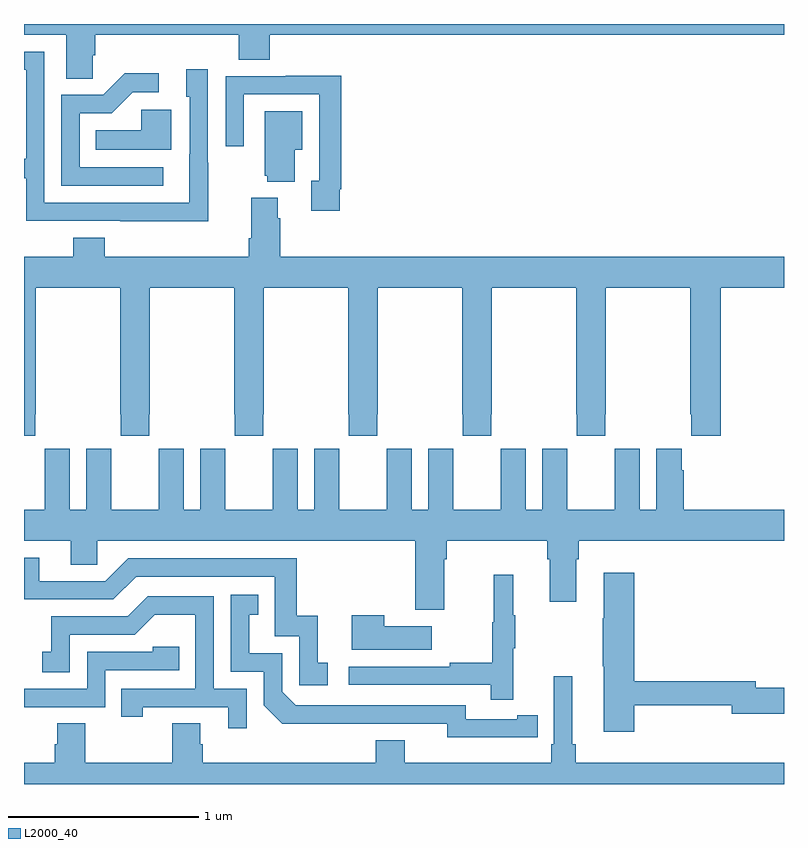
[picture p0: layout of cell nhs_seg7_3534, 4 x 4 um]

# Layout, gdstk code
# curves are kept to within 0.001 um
import gdstk
lib = gdstk.Library(unit=1e-6, precision=1e-09)
def P(c, l, *ps):  # polygons
    for p in ps: c.add(gdstk.Polygon(p, *l))
L2000_40 = (2000, 40)

nhs_seg7_3534 = lib.new_cell('nhs_seg7_3534')
P(nhs_seg7_3534, L2000_40, [(337.362,1005.835),(337.376,1005.835),(337.376,1005.944),(338.129,1005.944),(338.129,1005.811),(338.294,1005.811),(338.294,1005.944),(341,1005.944),(341,1006),(337,1006),(337,1005.944),(337.223,1005.944),(337.223,1005.712),(337.362,1005.712)],
  [(337.971,1005.269),(337.968,1005.269),(337.968,1005.763),(337.853,1005.763),(337.853,1005.618),(337.872,1005.618),(337.872,1005.314),(337.871,1005.314),(337.871,1005.06),(337.107,1005.06),(337.107,1005.855),(337,1005.855),(337,1005.759),(337.011,1005.759),(337.011,1005.29),(337,1005.29),(337,1005.189),(337.011,1005.189),(337.011,1004.964),(337.507,1004.964),(337.507,1004.963),(337.971,1004.963)],
  [(337.732,1005.246),(337.293,1005.246),(337.293,1005.531),(337.462,1005.531),(337.573,1005.642),(337.708,1005.642),(337.708,1005.74),(337.529,1005.74),(337.416,1005.627),(337.197,1005.627),(337.197,1005.15),(337.732,1005.15)],
  [(338.662,1005.13),(338.669,1005.13),(338.669,1005.728),(338.377,1005.728),(338.377,1005.726),(338.061,1005.726),(338.061,1005.357),(338.157,1005.357),(338.157,1005.63),(338.553,1005.63),(338.553,1005.174),(338.513,1005.174),(338.513,1005.018),(338.662,1005.018)],
  [(337.774,1005.55),(337.617,1005.55),(337.617,1005.442),(337.378,1005.442),(337.378,1005.338),(337.774,1005.338)],
  [(338.425,1005.338),(338.464,1005.338),(338.464,1005.541),(338.267,1005.541),(338.267,1005.201),(338.279,1005.201),(338.279,1005.17),(338.425,1005.17)],
  [(337.424,1004.875),(337.259,1004.875),(337.259,1004.776),(337,1004.776),(337,1003.833),(337.059,1003.833),(337.059,1003.945),(337.062,1003.945),(337.062,1004.612),(337.507,1004.612),(337.507,1003.945),(337.509,1003.945),(337.509,1003.833),(337.659,1003.833),(337.659,1003.945),(337.662,1003.945),(337.662,1004.612),(338.107,1004.612),(338.107,1003.945),(338.109,1003.945),(338.109,1003.833),(338.259,1003.833),(338.259,1003.945),(338.262,1003.945),(338.262,1004.612),(338.707,1004.612),(338.707,1003.945),(338.709,1003.945),(338.709,1003.833),(338.859,1003.833),(338.859,1003.945),(338.862,1003.945),(338.862,1004.612),(339.307,1004.612),(339.307,1003.945),(339.309,1003.945),(339.309,1003.833),(339.459,1003.833),(339.459,1003.945),(339.462,1003.945),(339.462,1004.612),(339.907,1004.612),(339.907,1003.945),(339.909,1003.945),(339.909,1003.833),(340.059,1003.833),(340.059,1003.945),(340.062,1003.945),(340.062,1004.612),(340.507,1004.612),(340.507,1003.945),(340.513,1003.945),(340.513,1003.833),(340.667,1003.833),(340.667,1004.612),(341,1004.612),(341,1004.776),(338.348,1004.776),(338.348,1004.978),(338.335,1004.978),(338.335,1005.085),(338.195,1005.085),(338.195,1004.872),(338.183,1004.872),(338.183,1004.776),(337.424,1004.776)],
  [(338.528,1003.765),(338.528,1003.444),(338.44,1003.444),(338.44,1003.765),(338.31,1003.765),(338.31,1003.652),(338.309,1003.652),(338.309,1003.444),(338.059,1003.444),(338.059,1003.652),(338.058,1003.652),(338.058,1003.765),(337.928,1003.765),(337.928,1003.444),(337.84,1003.444),(337.84,1003.765),(337.71,1003.765),(337.71,1003.652),(337.709,1003.652),(337.709,1003.444),(337.459,1003.444),(337.459,1003.652),(337.458,1003.652),(337.458,1003.765),(337.328,1003.765),(337.328,1003.444),(337.24,1003.444),(337.24,1003.765),(337.11,1003.765),(337.11,1003.652),(337.109,1003.652),(337.109,1003.444),(337,1003.444),(337,1003.28),(337.247,1003.28),(337.247,1003.153),(337.386,1003.153),(337.386,1003.28),(339.059,1003.28),(339.059,1002.918),(339.211,1002.918),(339.211,1003.184),(339.224,1003.184),(339.224,1003.28),(339.755,1003.28),(339.755,1003.184),(339.767,1003.184),(339.767,1002.96),(339.907,1002.96),(339.907,1003.184),(339.92,1003.184),(339.92,1003.28),(341,1003.28),(341,1003.444),(340.472,1003.444),(340.472,1003.652),(340.462,1003.652),(340.462,1003.765),(340.328,1003.765),(340.328,1003.444),(340.24,1003.444),(340.24,1003.765),(340.11,1003.765),(340.11,1003.652),(340.109,1003.652),(340.109,1003.444),(339.859,1003.444),(339.859,1003.652),(339.858,1003.652),(339.858,1003.765),(339.728,1003.765),(339.728,1003.444),(339.64,1003.444),(339.64,1003.765),(339.51,1003.765),(339.51,1003.652),(339.509,1003.652),(339.509,1003.444),(339.259,1003.444),(339.259,1003.652),(339.258,1003.652),(339.258,1003.765),(339.128,1003.765),(339.128,1003.444),(339.04,1003.444),(339.04,1003.765),(338.91,1003.765),(338.91,1003.652),(338.909,1003.652),(338.909,1003.444),(338.659,1003.444),(338.659,1003.652),(338.658,1003.652),(338.658,1003.765)],
  [(338.599,1002.639),(338.546,1002.639),(338.546,1002.886),(338.435,1002.886),(338.435,1003.188),(337.548,1003.188),(337.428,1003.068),(337.081,1003.068),(337.081,1003.191),(337,1003.191),(337,1002.972),(337.47,1002.972),(337.59,1003.092),(338.319,1003.092),(338.319,1002.777),(338.448,1002.777),(338.448,1002.519),(338.599,1002.519)],
  [(340.211,1002.414),(340.724,1002.414),(340.724,1002.371),(341,1002.371),(341,1002.506),(340.852,1002.506),(340.852,1002.542),(340.211,1002.542),(340.211,1003.111),(340.052,1003.111),(340.052,1002.872),(340.045,1002.872),(340.045,1002.619),(340.052,1002.619),(340.052,1002.276),(340.211,1002.276)],
  [(339.575,1002.715),(339.586,1002.715),(339.586,1002.889),(339.575,1002.889),(339.575,1003.102),(339.472,1003.102),(339.472,1002.852),(339.465,1002.852),(339.465,1002.638),(339.241,1002.638),(339.241,1002.618),(338.709,1002.618),(338.709,1002.522),(339.457,1002.522),(339.457,1002.444),(339.575,1002.444)],
  [(339.596,1002.246),(339.704,1002.246),(339.704,1002.362),(339.596,1002.362),(339.596,1002.342),(339.324,1002.342),(339.324,1002.414),(338.43,1002.414),(338.358,1002.486),(338.358,1002.687),(338.185,1002.687),(338.185,1002.891),(338.234,1002.891),(338.234,1002.997),(338.088,1002.997),(338.088,1002.591),(338.262,1002.591),(338.262,1002.414),(338.36,1002.317),(339.228,1002.318),(339.228,1002.245)],
  [(338.172,1002.501),(337.998,1002.501),(337.998,1002.987),(337.652,1002.987),(337.547,1002.882),(337.144,1002.882),(337.144,1002.697),(337.095,1002.697),(337.095,1002.588),(337.242,1002.588),(337.242,1002.786),(337.584,1002.786),(337.688,1002.89),(337.902,1002.89),(337.902,1002.501),(337.513,1002.501),(337.513,1002.354),(337.624,1002.354),(337.624,1002.405),(338.075,1002.405),(338.075,1002.294),(338.172,1002.294)],
  [(339.145,1002.829),(338.897,1002.829),(338.897,1002.889),(338.726,1002.889),(338.726,1002.707),(339.145,1002.707)],
  [(337.428,1002.6),(337.817,1002.6),(337.817,1002.723),(337.677,1002.723),(337.677,1002.696),(337.332,1002.696),(337.332,1002.501),(337,1002.501),(337,1002.405),(337.428,1002.405)],
  [(341,1002.112),(339.905,1002.112),(339.905,1002.208),(339.886,1002.208),(339.886,1002.568),(339.789,1002.568),(339.789,1002.208),(339.776,1002.208),(339.776,1002.112),(339.004,1002.112),(339.004,1002.229),(338.852,1002.229),(338.852,1002.112),(337.94,1002.112),(337.94,1002.21),(337.927,1002.21),(337.927,1002.32),(337.78,1002.32),(337.78,1002.112),(337.323,1002.112),(337.323,1002.32),(337.175,1002.32),(337.175,1002.21),(337.163,1002.21),(337.163,1002.112),(337,1002.112),(337,1002),(341,1002)])

lib.write_gds('nhs_seg7_3534.gds')
